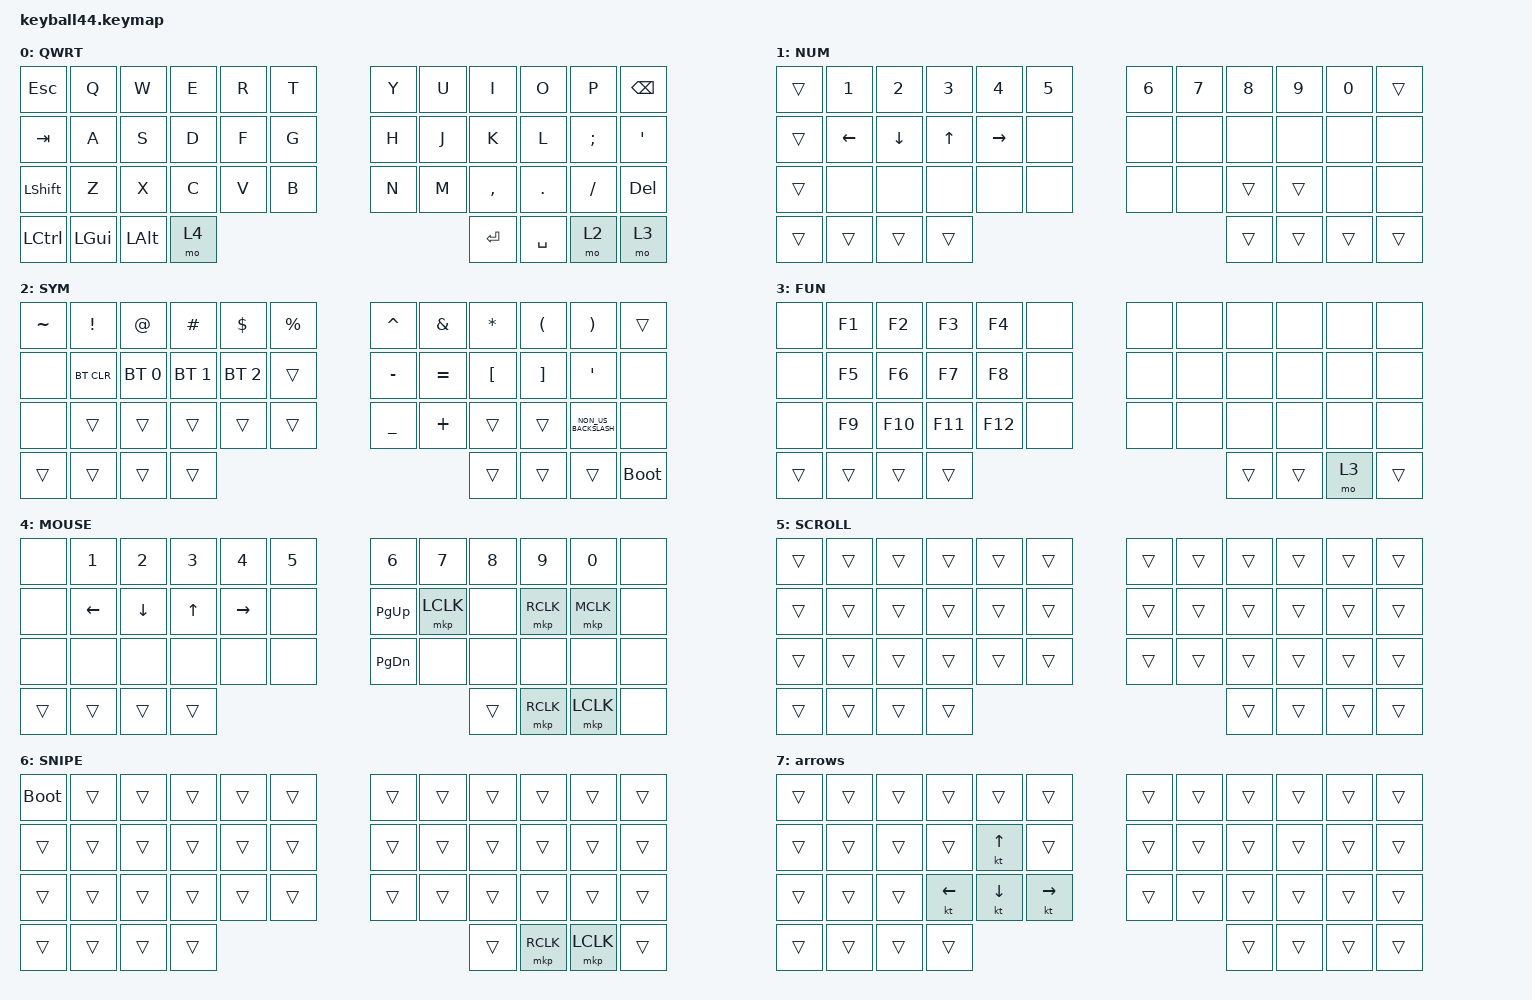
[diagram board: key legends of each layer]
#define DEFAULT 0
#define NUM     1
#define SYM     2
#define FUN     3
#define MOUSE   4
#define SCROLL  5
#define SNIPE   6

#include <behaviors/mouse_keys.dtsi>
#include <dt-bindings/zmk/mouse.h>
#include <behaviors.dtsi>
#include <dt-bindings/zmk/bt.h>
#include <dt-bindings/zmk/keys.h>
#include <dt-bindings/zmk/pointing.h>

&nice_view_spi { cs-gpios = <&pro_micro 1 GPIO_ACTIVE_HIGH>; };

&lt {
    tapping-term-ms = <240>;
    flavor = "balanced";
    quick-tap-ms = <150>;
};

&mt {
    tapping-term-ms = <200>;
    flavor = "tap-preferred";
    quick-tap-ms = <150>;
};

&caps_word { continue-list = <UNDERSCORE MINUS>; };

/ {
    // custom shift using mod-morph 

    behaviors {
        cmqus: comma_question {
            compatible = "zmk,behavior-mod-morph";
            label = "COMMA_QUESTION";
            #binding-cells = <0>;
            bindings = <&kp COMMA>, <&kp QUESTION>;

            mods = <(MOD_LSFT|MOD_RSFT)>;
        };

        dtsmi: dot_semi {
            compatible = "zmk,behavior-mod-morph";
            label = "DOT_SEMI";
            #binding-cells = <0>;
            bindings = <&kp DOT>, <&kp SEMI>;

            mods = <(MOD_LSFT|MOD_RSFT)>;
        };
    };

    combos {
        compatible = "zmk,combos";

        default_bootloader_r {
            bindings = <&bootloader>;
            key-positions = <10 11>;
        };

        default_bootloader_l {
            bindings = <&bootloader>;
            key-positions = <0 1>;
        };
    };

    keymap {
        compatible = "zmk,keymap";

        default_layer {
            label = "QWRT";
            bindings = <
&kp ESCAPE        &kp Q         &kp W         &kp E  &kp R      &kp T                 &kp Y  &kp U  &kp I      &kp O    &kp P      &kp BACKSPACE
&kp TAB           &kp A         &kp S         &kp D  &kp F      &kp G                 &kp H  &kp J  &kp K      &kp L    &kp SEMI   &kp SQT
&kp LEFT_SHIFT    &kp Z         &kp X         &kp C  &kp V      &kp B                 &kp N  &kp M  &kp COMMA  &kp DOT  &kp SLASH  &kp DELETE
&kp LEFT_CONTROL  &kp LEFT_GUI  &kp LEFT_ALT  &mo 4  &kp ENTER             &kp SPACE  &mo 2                                        &mo 3
            >;
        };

        number_layer {
            label = "NUM";
            bindings = <
&trans  &kp NUMBER_1  &kp NUMBER_2  &kp NUMBER_3  &kp NUMBER_4  &kp NUMBER_5              &kp NUMBER_6  &kp NUMBER_7  &kp NUMBER_8  &kp NUMBER_9  &kp NUMBER_0  &trans
&trans  &kp LEFT      &kp DOWN      &kp UP_ARROW  &kp RIGHT     &none                     &none         &none         &none         &none         &none         &none
&trans  &none         &none         &none         &none         &none                     &none         &none         &trans        &trans        &none         &none
&trans  &trans        &trans        &trans        &trans                          &trans  &trans                                                                &trans
            >;
        };

        symbol_layer {
            label = "SYM";
            bindings = <
&kp TILDE  &kp EXCLAMATION  &kp AT_SIGN   &kp HASH      &kp DOLLAR    &kp PERCENT              &kp CARET       &kp AMPERSAND  &kp ASTERISK      &kp LEFT_PARENTHESIS  &kp RIGHT_PARENTHESIS  &trans
&none      &bt BT_CLR       &bt BT_SEL 0  &bt BT_SEL 1  &bt BT_SEL 2  &trans                   &kp MINUS       &kp EQUAL      &kp LEFT_BRACKET  &kp RIGHT_BRACKET     &kp SQT                &none
&none      &trans           &trans        &trans        &trans        &trans                   &kp UNDERSCORE  &kp PLUS       &trans            &trans                &kp NON_US_BACKSLASH   &none
&trans     &trans           &trans        &trans        &trans                         &trans  &trans                                                                                        &bootloader
            >;
        };

        function_layer {
            label = "FUN";
            bindings = <
&none   &kp F1  &kp F2   &kp F3   &kp F4   &none              &none  &none  &none  &none  &none  &none
&none   &kp F5  &kp F6   &kp F7   &kp F8   &none              &none  &none  &none  &none  &none  &none
&none   &kp F9  &kp F10  &kp F11  &kp F12  &none              &none  &none  &none  &none  &none  &none
&trans  &trans  &trans   &trans   &trans              &trans  &mo 3                              &trans
            >;
        };

        mouse_layer {
            label = "MOUSE";
            bindings = <
&none   &kp N1          &kp N2          &kp N3        &kp N4     &kp N5                 &kp N6         &kp N7     &kp N8  &kp N9     &kp N0     &none
&none   &kp LEFT_ARROW  &kp DOWN_ARROW  &kp UP_ARROW  &kp RIGHT  &none                  &kp PAGE_UP    &mkp LCLK  &none   &mkp RCLK  &mkp MCLK  &none
&none   &none           &none           &none         &none      &none                  &kp PAGE_DOWN  &none      &none   &none      &none      &none
&trans  &trans          &trans          &trans        &trans                 &mkp RCLK  &mkp LCLK                                               &none
            >;
        };

        scroll_layer {
            label = "SCROLL";
            bindings = <
&trans  &trans  &trans  &trans  &trans  &trans              &trans  &trans  &trans  &trans  &trans  &trans
&trans  &trans  &trans  &trans  &trans  &trans              &trans  &trans  &trans  &trans  &trans  &trans
&trans  &trans  &trans  &trans  &trans  &trans              &trans  &trans  &trans  &trans  &trans  &trans
&trans  &trans  &trans  &trans  &trans              &trans  &trans                                  &trans
            >;
        };

        snipe_layer {
            label = "SNIPE";
            bindings = <
&bootloader  &trans  &trans  &trans  &trans  &trans                 &trans     &trans  &trans  &trans  &trans  &trans
&trans       &trans  &trans  &trans  &trans  &trans                 &trans     &trans  &trans  &trans  &trans  &trans
&trans       &trans  &trans  &trans  &trans  &trans                 &trans     &trans  &trans  &trans  &trans  &trans
&trans       &trans  &trans  &trans  &trans              &mkp RCLK  &mkp LCLK                                  &trans
            >;
        };

        arrows {
            bindings = <
&trans  &trans  &trans  &trans          &trans        &trans                 &trans  &trans  &trans  &trans  &trans  &trans
&trans  &trans  &trans  &trans          &kt UP_ARROW  &trans                 &trans  &trans  &trans  &trans  &trans  &trans
&trans  &trans  &trans  &kt LEFT_ARROW  &kt DOWN      &kt RIGHT              &trans  &trans  &trans  &trans  &trans  &trans
&trans  &trans  &trans  &trans          &trans                       &trans  &trans                                  &trans
            >;
        };
    };
};
